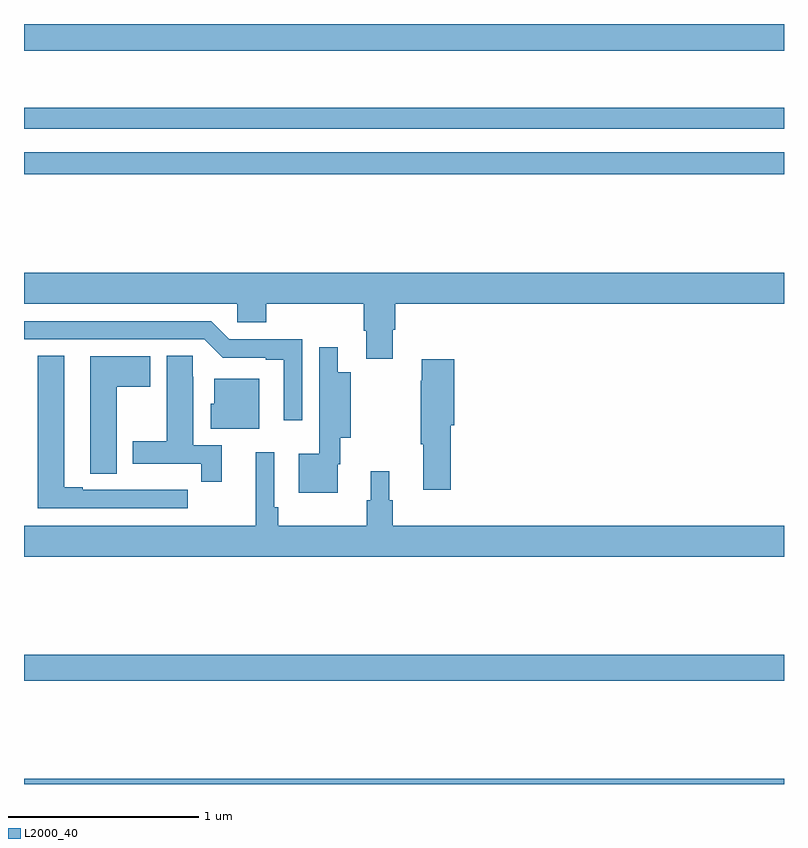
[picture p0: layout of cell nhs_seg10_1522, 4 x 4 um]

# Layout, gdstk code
import gdstk
lib = gdstk.Library(unit=1e-6, precision=1e-09)
def R(c, l, rs):  # rectangles x0, y0, x1, y1
    for r in rs: c.add(gdstk.rectangle(r[:2], r[2:], *l))
def P(c, l, *ps):  # polygons
    for p in ps: c.add(gdstk.Polygon(p, *l))
L2000_40 = (2000, 40)

nhs_seg10_1522 = lib.new_cell('nhs_seg10_1522')
R(nhs_seg10_1522, L2000_40, [(191,1252.5,195,1252.528), (191,1253.044,195,1253.18), (191,1255.708,195,1255.824), (191,1255.95,195,1256.059), (191,1256.36,195,1256.5)])
P(nhs_seg10_1522, L2000_40, [(192.94,1254.891),(192.953,1254.891),(192.953,1255.028),(195,1255.028),(195,1255.192),(191,1255.192),(191,1255.028),(192.123,1255.028),(192.123,1254.93),(192.275,1254.93),(192.275,1255.028),(192.788,1255.028),(192.788,1254.886),(192.8,1254.886),(192.8,1254.738),(192.94,1254.738)],
  [(192.465,1254.84),(192.081,1254.84),(191.985,1254.936),(191,1254.936),(191,1254.84),(191.949,1254.84),(192.045,1254.744),(192.272,1254.744),(192.272,1254.732),(192.368,1254.732),(192.368,1254.414),(192.465,1254.414)],
  [(192.651,1254.182),(192.664,1254.182),(192.664,1254.323),(192.72,1254.323),(192.72,1254.667),(192.652,1254.667),(192.652,1254.799),(192.554,1254.799),(192.554,1254.563),(192.553,1254.563),(192.553,1254.238),(192.446,1254.238),(192.446,1254.032),(192.651,1254.032)],
  [(191.863,1254.048),(191.75,1254.048),(191.75,1254.049),(191.584,1254.049),(191.584,1254.048),(191.308,1254.048),(191.308,1254.063),(191.212,1254.063),(191.212,1254.755),(191.072,1254.755),(191.072,1253.952),(191.863,1253.952)],
  [(192.041,1254.282),(191.89,1254.282),(191.89,1254.644),(191.889,1254.644),(191.889,1254.755),(191.75,1254.755),(191.75,1254.303),(191.573,1254.303),(191.573,1254.186),(191.932,1254.186),(191.932,1254.09),(192.041,1254.09)],
  [(191.488,1254.592),(191.665,1254.592),(191.665,1254.751),(191.348,1254.751),(191.348,1254.241),(191.349,1254.241),(191.349,1254.133),(191.488,1254.133)],
  [(193.247,1254.387),(193.265,1254.387),(193.265,1254.736),(193.094,1254.736),(193.094,1254.623),(193.087,1254.623),(193.087,1254.287),(193.1,1254.287),(193.1,1254.048),(193.247,1254.048)],
  [(192.238,1254.634),(192.002,1254.634),(192.002,1254.501),(191.984,1254.501),(191.984,1254.371),(192.238,1254.371)],
  [(195,1253.86),(192.941,1253.86),(192.941,1253.994),(192.922,1253.994),(192.922,1254.145),(192.824,1254.145),(192.824,1253.994),(192.805,1253.994),(192.805,1253.86),(192.338,1253.86),(192.338,1253.956),(192.318,1253.956),(192.318,1254.247),(192.221,1254.247),(192.221,1253.86),(191,1253.86),(191,1253.696),(195,1253.696)])

lib.write_gds('nhs_seg10_1522.gds')
